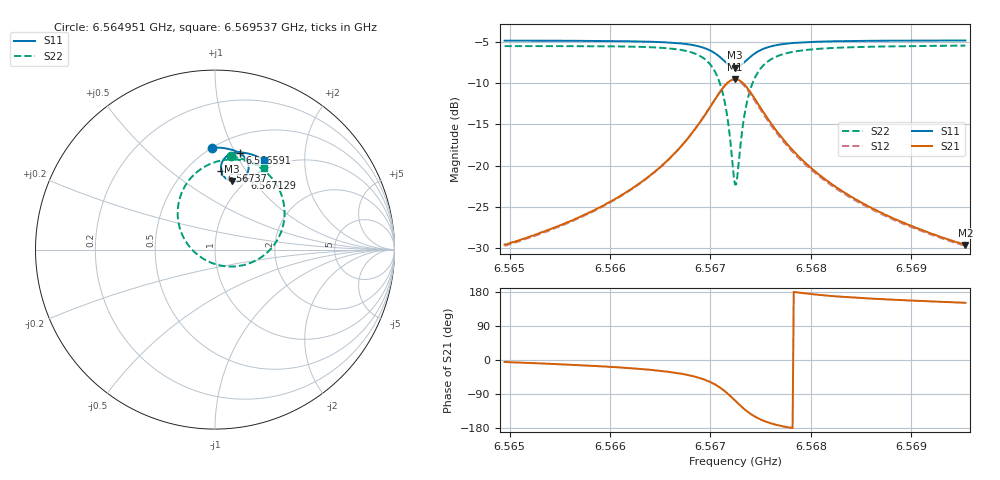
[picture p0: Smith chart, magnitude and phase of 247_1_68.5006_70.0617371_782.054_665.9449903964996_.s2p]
#  HZ  S  RI  R  50.00
! Rohde & Schwarz Vector Network Analyzer
! Rohde-Schwarz,ZNB20-2Port,1311601062101988,3.16
! Created: UTC 3/20/2024, 5:14:48 PM
! freq[Hz]  re:S11  im:S11  re:S21  im:S21  re:S12  im:S12  re:S22  im:S22
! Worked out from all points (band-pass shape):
!   401 points, 6.564951 GHz to 6.569537 GHz, reference 50 ohm
!   highest |S21| = -9.56 dB at 6.567244 GHz (marker M1); lowest = -29.6 dB at 6.569537 GHz (marker M2)
!   |S21| within 3 dB of the highest: 6.567016 GHz to 6.567474 GHz (457.8 kHz wide, 0.00697 % of centre)
!   lowest |S11| = -8.1 dB at 6.567244 GHz (marker M3), VSWR 2.29, Z = 43.7 + j39.3 ohm
!   |S11| at or under -10 dB: nowhere
!   |S22| runs from -22.3 to -5.5 dB; largest |S21 - S12| = 0.017
!   S11 on the Smith chart (normalised r, x): 6.564951 GHz: 0.50, +0.84; 6.566591 GHz: 0.67, +1.04; 6.567129 GHz: 0.95, +0.93; 6.56737 GHz: 0.72, +0.78; 6.569537 GHz: 0.87, +1.29
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6.5649512e9  -0.0163 0.5688  0.0332 -0.00305  0.0324 -0.00355  0.0873 0.5201
6.5657193e9  0.049 0.5654  0.0481 -0.0119  0.0473 -0.0127  0.1673 0.4999
6.566155e9  0.0904 0.5573  0.0641 -0.0242  0.0632 -0.0251  0.2264 0.4731
6.5664874e9  0.1267 0.5437  0.0849 -0.0456  0.0839 -0.0467  0.2872 0.4289
6.5665906e9  0.1395 0.5364  0.094 -0.0576  0.0927 -0.0588  0.3107 0.4055
6.566797e9  0.1671 0.5122  0.1147 -0.0994  0.113 -0.1015  0.3627 0.3239
6.5669574e9  0.1857 0.4736  0.1232 -0.1671  0.1199 -0.1709  0.3874 0.1934
6.5670606e9  0.1836 0.4328  0.1015 -0.2389  0.0945 -0.2436  0.3493 0.0568
6.5671294e9  0.1647 0.4013  0.054 -0.2923  0.0425 -0.2961  0.2593 -0.0417
6.5671753e9  0.1406 0.3847  0.00163 -0.3184  -0.0129 -0.3189  0.1611 -0.086
6.5672211e9  0.1091 0.3784  -0.0631 -0.3248  -0.079 -0.3205  0.0424 -0.0909
6.567244e9  0.0925 0.3804  -0.0965 -0.3185  -0.1119 -0.311  -0.0168 -0.075
6.567267e9  0.0768 0.386  -0.1281 -0.3056  -0.1422 -0.2955  -0.0713 -0.0474
6.5673243e9  0.0467 0.4119  -0.1884 -0.2522  -0.197 -0.2378  -0.1694 0.0559
6.5673702e9  0.0353 0.4381  -0.2128 -0.2006  -0.2165 -0.1861  -0.2032 0.1499
6.5674619e9  0.0383 0.4836  -0.214 -0.1131  -0.2121 -0.1019  -0.1908 0.3026
6.5675994e9  0.0663 0.5211  -0.1763 -0.0409  -0.1725 -0.0348  -0.1104 0.4235
6.5677599e9  0.0986 0.5373  -0.1354 -0.00688  -0.1319 -0.00371  -0.0262 0.4775
6.5680121e9  0.1378 0.5422  -0.0948 0.0106  -0.0925 0.0122  0.062 0.5004
6.5683561e9  0.1774 0.5372  -0.0654 0.0165  -0.0637 0.017  0.1364 0.4998
6.5687802e9  0.2167 0.5258  -0.0461 0.0172  -0.0451 0.0175  0.1969 0.487
6.5695369e9  0.2757 0.4995  -0.029 0.0161  -0.0284 0.0161  0.2719 0.4563
